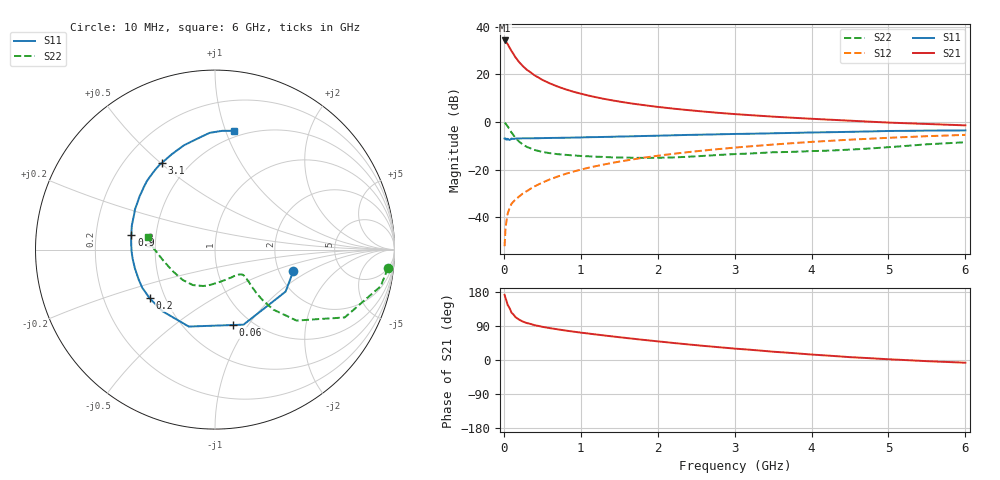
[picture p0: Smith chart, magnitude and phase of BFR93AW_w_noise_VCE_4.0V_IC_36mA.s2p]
! (c) 2017  Infineon Technologies AG, Munich
! Infineon Technologies  Discrete & RF Semiconductors
! BFR93AW
! VCE =  4.0 V,  IC =  36 mA
! Common Emitter S-Parameters:  Jan 2017
# GHz  S  MA  R  50
!  f  S11  S21  S12  S22
! GHz  MAG  ANG  MAG  ANG  MAG  ANG  MAG  ANG
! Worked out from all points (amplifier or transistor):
!   77 points, 10 MHz to 6 GHz, reference 50 ohm
!   highest |S21| = 34.2 dB at 10 MHz (marker M1)
!   |S21| within 3 dB of that: start of sweep to 74.79 MHz
!   unconditionally stable (mu >= 1): 512.6 MHz to 2.031 GHz
!   at 130 MHz: K = 0.57, MSG = 30.8 dB, |S12| = -33.2 dB
!   at 2.2 GHz: K = 0.99, MSG = 9.5 dB, |S12| = -13.3 dB
!   at 6 GHz: K = 0.89, MSG = 2.0 dB, |S12| = -5.4 dB
!   lowest NFmin = 1.95 dB at 450 MHz
!   S11 on the Smith chart (normalised r, x): 10 MHz: 2.39, -0.73; 60 MHz: 0.82, -0.85; 200 MHz: 0.41, -0.28; 900 MHz: 0.36, +0.08; 3.1 GHz: 0.35, +0.51; 6 GHz: 0.44, +1.07
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0.01  0.4525 -15.5  51.56 171.9  0.0025 84.8  0.9692 -6.1
0.02  0.4576 -30.8  50.74 164.5  0.0053 82.1  0.9454 -12.5
0.05  0.4473 -69.2  43.11 145.0  0.0121 68.0  0.8155 -27.6
0.06  0.4315 -76.9  40.34 142.0  0.0135 66.3  0.7702 -29.7
0.1  0.4529 -108.8  30.92 124.7  0.0194 61.9  0.6029 -41.0
0.15  0.451 -130.4  23 113.4  0.0236 59.8  0.4671 -45.8
0.2  0.4537 -143.3  18.03 106.3  0.0276 62.1  0.3876 -46.7
0.25  0.4576 -152.3  14.79 101.1  0.0321 63.2  0.3364 -46.4
0.3  0.4568 -158.5  12.47 97.5  0.0358 64.1  0.3009 -45.5
0.4  0.4586 -167.3  9.544 91.8  0.0449 67.5  0.2604 -43.7
0.5  0.4618 -173.9  7.69 87.6  0.0538 68.7  0.2372 -42.6
0.6  0.4649 -178.8  6.464 84.0  0.063 69.6  0.2228 -42.0
0.7  0.4672 177.1  5.56 80.9  0.0722 70.9  0.2126 -41.9
0.9  0.4729 170.0  4.354 75.0  0.0912 70.5  0.2003 -43.7
1.1  0.4823 163.9  3.604 69.8  0.1104 70.7  0.1919 -46.7
1.3  0.4883 158.5  3.076 64.9  0.1289 69.7  0.1858 -51.0
1.5  0.4983 153.7  2.696 60.2  0.1482 68.4  0.1806 -56.5
2.1  0.5232 140.4  2.001 47.2  0.2064 63.8  0.1799 -77.7
3.1  0.5668 121.5  1.437 28.6  0.3007 54.5  0.2163 -111.1
4.1  0.6093 105.1  1.153 13.1  0.3929 44.1  0.2488 -140.3
5.1  0.6531 91.4  0.964 1.0  0.4757 33.0  0.3059 -172.0
6  0.6701 81.0  0.854 -7.2  0.5399 23.0  0.3785 169.5
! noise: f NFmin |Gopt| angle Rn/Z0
0.45  1.95  0.21  178  0.16
0.9  2.22  0.28  -172  0.17
1.9  3.28  0.52  -134  0.32
2.4  3.96  0.56  -123  0.61
